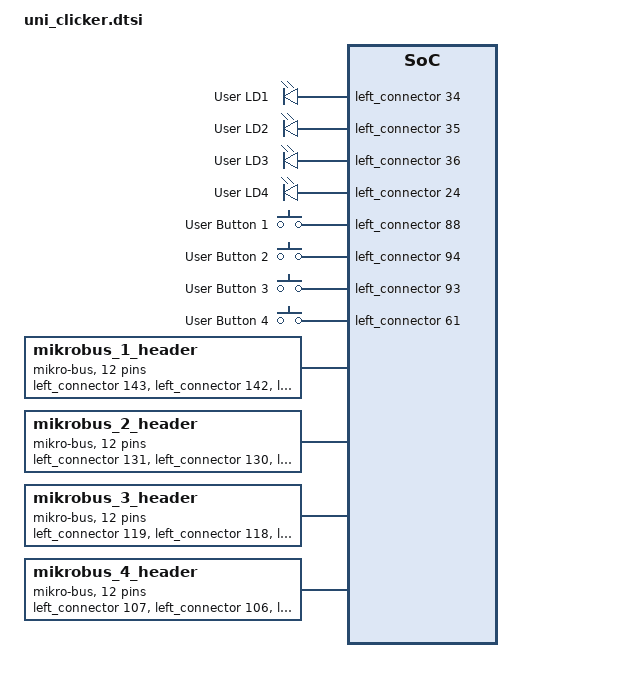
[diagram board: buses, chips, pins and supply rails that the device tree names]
/*
 * Copyright (c) 2026 Mario Paja
 *
 * SPDX-License-Identifier: Apache-2.0
 *
 * Generic UNI Clicker carrier description. The MCU-card specific
 * connector mapping (left_connector / right_connector) must be included
 * by the board DTS before this file.
 */

/ {
	aliases {
		led0 = &led_a;
		led1 = &led_b;
		led2 = &led_c;
		led3 = &led_d;
		sw0 = &button_a;
		sw1 = &button_b;
		sw2 = &button_c;
		sw3 = &button_d;
	};

	leds: leds {
		compatible = "gpio-leds";

		led_a: led_a {
			gpios = <&left_connector 34 GPIO_ACTIVE_HIGH>;
			label = "User LD1";
		};

		led_b: led_b {
			gpios = <&left_connector 35 GPIO_ACTIVE_HIGH>;
			label = "User LD2";
		};

		led_c: led_c {
			gpios = <&left_connector 36 GPIO_ACTIVE_HIGH>;
			label = "User LD3";
		};

		led_d: led_d {
			gpios = <&left_connector 24 GPIO_ACTIVE_HIGH>;
			label = "User LD4";
		};
	};

	gpio_keys {
		compatible = "gpio-keys";

		button_a: button_a {
			label = "User Button 1";
			gpios = <&left_connector 88 GPIO_ACTIVE_HIGH>;
			zephyr,code = <INPUT_KEY_0>;
		};

		button_b: button_b {
			label = "User Button 2";
			gpios = <&left_connector 94 GPIO_ACTIVE_HIGH>;
			zephyr,code = <INPUT_KEY_1>;
		};

		button_c: button_c {
			label = "User Button 3";
			gpios = <&left_connector 93 GPIO_ACTIVE_HIGH>;
			zephyr,code = <INPUT_KEY_2>;
		};

		button_d: button_d {
			label = "User Button 4";
			gpios = <&left_connector 61 GPIO_ACTIVE_HIGH>;
			zephyr,code = <INPUT_KEY_3>;
		};
	};

	mikrobus_1_header: mikrobus-connector-1 {
		compatible = "mikro-bus";
		#gpio-cells = <2>;
		gpio-map-mask = <0xffffffff 0xffffffc0>;
		gpio-map-pass-thru = <0 0x3f>;
		gpio-map = <0 0 &left_connector 143 0>,	/* AN */
			   <1 0 &left_connector 142 0>,	/* RST */
			   <2 0 &left_connector 141 0>,	/* CS */
			   <3 0 &left_connector 140 0>,	/* SCK */
			   <4 0 &left_connector 139 0>,	/* MISO */
			   <5 0 &left_connector 138 0>,	/* MOSI */
			   /* +3.3V */
			   /* GND */
			   <6 0 &left_connector 137 0>,	/* PWM */
			   <7 0 &left_connector 136 0>,	/* INT */
			   <8 0 &left_connector 135 0>,	/* RX */
			   <9 0 &left_connector 134 0>,	/* TX */
			   <10 0 &left_connector 133 0>, /* SCL */
			   <11 0 &left_connector 132 0>; /* SDA */
		/* +5V */
		/* GND */
	};

	mikrobus_2_header: mikrobus-connector-2 {
		compatible = "mikro-bus";
		#gpio-cells = <2>;
		gpio-map-mask = <0xffffffff 0xffffffc0>;
		gpio-map-pass-thru = <0 0x3f>;
		gpio-map = <0 0 &left_connector 131 0>,	/* AN */
			   <1 0 &left_connector 130 0>,	/* RST */
			   <2 0 &left_connector 129 0>,	/* CS */
			   <3 0 &left_connector 128 0>,	/* SCK */
			   <4 0 &left_connector 127 0>,	/* MISO */
			   <5 0 &left_connector 126 0>,	/* MOSI */
			   /* +3.3V */
			   /* GND */
			   <6 0 &left_connector 125 0>,	/* PWM */
			   <7 0 &left_connector 124 0>,	/* INT */
			   <8 0 &left_connector 123 0>,	/* RX  */
			   <9 0 &left_connector 122 0>,	/* TX */
			   <10 0 &left_connector 121 0>, /* SCL */
			   <11 0 &left_connector 120 0>; /* SDA */
		/* +5V */
		/* GND */
	};

	mikrobus_3_header: mikrobus-connector-3 {
		compatible = "mikro-bus";
		#gpio-cells = <2>;
		gpio-map-mask = <0xffffffff 0xffffffc0>;
		gpio-map-pass-thru = <0 0x3f>;
		gpio-map = <0 0 &left_connector 119 0>,	/* AN */
			   <1 0 &left_connector 118 0>,	/* RST */
			   <2 0 &left_connector 117 0>,	/* CS */
			   <3 0 &left_connector 116 0>,	/* SCK */
			   <4 0 &left_connector 115 0>,	/* MISO */
			   <5 0 &left_connector 114 0>,	/* MOSI */
			   /* +3.3V */
			   /* GND */
			   <6 0 &left_connector 113 0>,	/* PWM */
			   <7 0 &left_connector 112 0>,	/* INT */
			   <8 0 &left_connector 111 0>,	/* RX */
			   <9 0 &left_connector 110 0>,	/* TX */
			   <10 0 &left_connector 109 0>, /* SCL */
			   <11 0 &left_connector 108 0>; /* SDA */
		/* +5V */
		/* GND */
	};

	mikrobus_4_header: mikrobus-connector-4 {
		compatible = "mikro-bus";
		#gpio-cells = <2>;
		gpio-map-mask = <0xffffffff 0xffffffc0>;
		gpio-map-pass-thru = <0 0x3f>;
		gpio-map = <0 0 &left_connector 107 0>,	/* AN */
			   <1 0 &left_connector 106 0>,	/* RST */
			   <2 0 &left_connector 105 0>,	/* CS */
			   <3 0 &left_connector 104 0>,	/* SCK */
			   <4 0 &left_connector 103 0>,	/* MISO */
			   <5 0 &left_connector 102 0>,	/* MOSI */
			   /* +3.3V */
			   /* GND */
			   <6 0 &left_connector 101 0>,	/* PWM */
			   <7 0 &left_connector 100 0>,	/* INT */
			   <8 0 &left_connector 99 0>,	/* RX */
			   <9 0 &left_connector 98 0>,	/* TX */
			   <10 0 &left_connector 97 0>,	/* SCL */
			   <11 0 &left_connector 96 0>;	/* SDA */
		/* +5V */
		/* GND */
	};
};

mikrobus_header: &mikrobus_1_header {};
